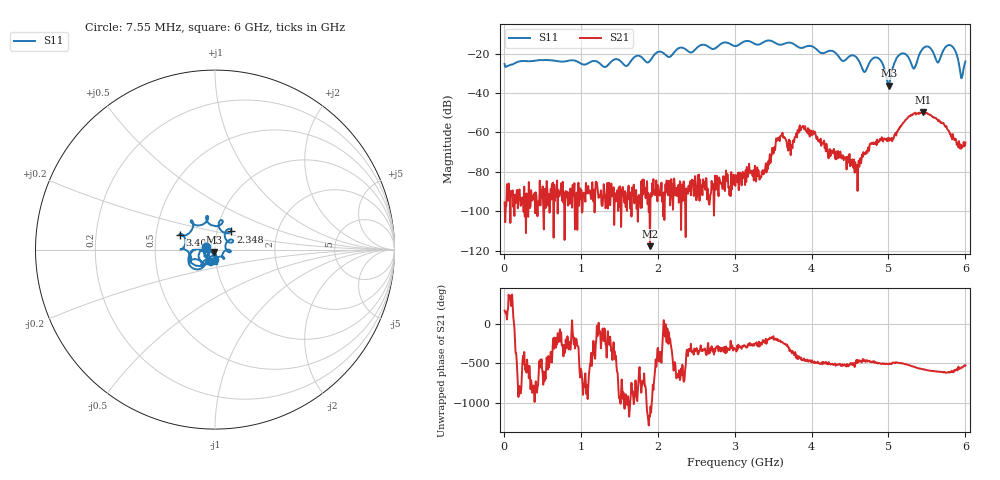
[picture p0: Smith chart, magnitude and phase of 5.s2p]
! NanoVNA-App by OneOfEleven et al v1.1.209 (+OD15)
! Date: 2024-07-30 12:38:58
! Start: 50kHz Stop: 6GHz Points: 801
! S-Parameter data: F S11 S21 S12 S22
# Hz S RI R 50
!  Frequency  S11_Real  S11_Imag  S21_Real  S21_Imag  S12_Real  S12_Imag  S22_Real  S22_Imag
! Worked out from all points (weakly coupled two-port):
!   800 points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, 7.55 MHz to 6 GHz, reference 50 ohm
!   highest |S21| = -49.84 dB at 5.445 GHz (marker M1); lowest = -117.7 dB at 1.898 GHz (marker M2)
!   lowest |S11| = -36.2 dB at 5.003 GHz (marker M3), VSWR 1.03, Z = 49.4 - j1.43 ohm
!   |S11| at or under -10 dB: start of sweep to end of sweep
!   S12 and S22 are empty: the file has one direction only
!   S11 on the Smith chart (normalised r, x): 7.55 MHz: 0.90, +0.03; 2.348 GHz: 1.17, +0.24; 3.405 GHz: 0.67, +0.11; 6 GHz: 0.98, -0.12
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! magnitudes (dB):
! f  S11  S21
! 7.55 MHz  -25.2  -95.5
! 1.013 GHz  -25.3  -100.7
! 1.898 GHz  -23.7  -117.7
! 2.01 GHz  -19.0  -88.0
! 2.348 GHz  -17.4  -90.2
! 3.008 GHz  -16.1  -87.1
! 3.405 GHz  -13.6  -75.6
! 3.593 GHz  -15.5  -61.8
! 3.72 GHz  -14.4  -64.2
! 3.87 GHz  -17.1  -57.4
! 4.005 GHz  -16.3  -61.4
! 4.575 GHz  -21.5  -79.6
! 4.688 GHz  -29.3  -71.1
! 4.868 GHz  -22.3  -65.1
! 5.003 GHz  -36.2  -62.6
! 5.138 GHz  -20.7  -58.4
! 5.333 GHz  -27.6  -50.3
! 5.445 GHz  -17.5  -49.8
! 5.64 GHz  -24.5  -53.5
! 5.805 GHz  -15.7  -60.6
! 5.948 GHz  -32.5  -68.2
! 6 GHz  -23.9  -65.1
